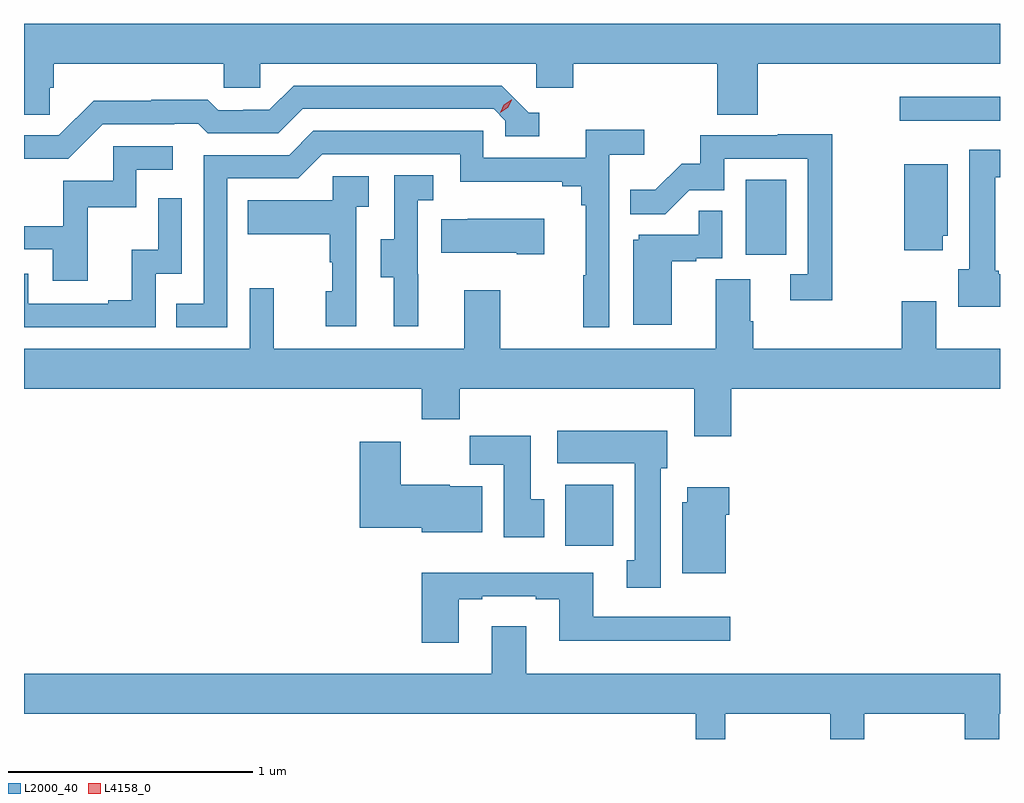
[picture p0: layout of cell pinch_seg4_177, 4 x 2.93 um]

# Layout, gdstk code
import gdstk
lib = gdstk.Library(unit=1e-6, precision=1e-09)
def R(c, l, rs):  # rectangles x0, y0, x1, y1
    for r in rs: c.add(gdstk.rectangle(r[:2], r[2:], *l))
def P(c, l, *ps):  # polygons
    for p in ps: c.add(gdstk.Polygon(p, *l))
L2000_40 = (2000, 40)
L4158_0 = (4158, 0)

pinch_seg4_177 = lib.new_cell('pinch_seg4_177')
R(pinch_seg4_177, L2000_40, [(1093.913,800.172,1094.109,800.422), (1094.654,801.366,1094.818,801.673), (1095.285,801.915,1095.695,802.012)])
P(pinch_seg4_177, L2000_40, [(1091.801,802.05),(1091.816,802.05),(1091.816,802.148),(1092.513,802.148),(1092.513,802.05),(1092.663,802.05),(1092.663,802.148),(1093.794,802.148),(1093.794,802.05),(1093.946,802.05),(1093.946,802.148),(1094.537,802.148),(1094.537,801.94),(1094.702,801.94),(1094.702,802.148),(1095.695,802.148),(1095.695,802.312),(1091.695,802.312),(1091.695,801.94),(1091.801,801.94)],
  [(1092.018,801.9),(1092.311,801.9),(1092.311,801.903),(1092.41,801.903),(1092.449,801.864),(1092.738,801.864),(1092.837,801.963),(1093.62,801.963),(1093.668,801.915),(1093.668,801.852),(1093.807,801.852),(1093.807,801.948),(1093.764,801.948),(1093.653,802.059),(1092.8,802.059),(1092.701,801.96),(1092.594,801.96),(1092.594,801.957),(1092.491,801.957),(1092.449,802),(1092.216,802),(1092.216,801.997),(1091.98,801.997),(1091.838,801.855),(1091.695,801.855),(1091.695,801.759),(1091.877,801.759)],
  [(1092.528,801.678),(1092.819,801.678),(1092.918,801.777),(1093.482,801.777),(1093.482,801.665),(1093.901,801.665),(1093.901,801.646),(1093.978,801.646),(1093.978,801.569),(1093.997,801.569),(1093.997,801.281),(1093.986,801.281),(1093.986,801.069),(1094.094,801.069),(1094.094,801.776),(1094.236,801.776),(1094.236,801.878),(1093.997,801.878),(1093.997,801.762),(1093.578,801.762),(1093.578,801.873),(1092.881,801.873),(1092.782,801.774),(1092.432,801.774),(1092.432,801.165),(1092.319,801.165),(1092.319,801.069),(1092.528,801.069)],
  [(1095.008,801.86),(1094.785,801.86),(1094.785,801.855),(1094.467,801.855),(1094.467,801.738),(1094.39,801.738),(1094.283,801.631),(1094.179,801.631),(1094.179,801.532),(1094.323,801.532),(1094.421,801.63),(1094.565,801.63),(1094.565,801.759),(1094.907,801.759),(1094.907,801.285),(1094.835,801.285),(1094.835,801.18),(1095.008,801.18)],
  [(1091.957,801.561),(1092.156,801.561),(1092.156,801.714),(1092.304,801.714),(1092.304,801.81),(1092.06,801.81),(1092.06,801.669),(1091.855,801.669),(1091.855,801.483),(1091.695,801.483),(1091.695,801.387),(1091.813,801.387),(1091.813,801.258),(1091.957,801.258)],
  [(1095.695,801.286),(1095.69,801.286),(1095.69,801.3),(1095.676,801.3),(1095.676,801.683),(1095.695,801.683),(1095.695,801.796),(1095.569,801.796),(1095.569,801.306),(1095.524,801.306),(1095.524,801.152),(1095.695,801.152)],
  [(1095.46,801.444),(1095.481,801.444),(1095.481,801.736),(1095.302,801.736),(1095.302,801.384),(1095.46,801.384)],
  [(1093.31,801.285),(1093.308,801.285),(1093.308,801.589),(1093.372,801.589),(1093.372,801.692),(1093.212,801.692),(1093.212,801.429),(1093.157,801.429),(1093.157,801.274),(1093.211,801.274),(1093.211,801.072),(1093.31,801.072)],
  [(1093.056,801.563),(1093.108,801.563),(1093.108,801.687),(1092.96,801.687),(1092.96,801.589),(1092.613,801.589),(1092.613,801.449),(1092.948,801.449),(1092.948,801.335),(1092.958,801.335),(1092.958,801.216),(1092.932,801.216),(1092.932,801.072),(1093.056,801.072)],
  [(1092.234,801.288),(1092.342,801.288),(1092.342,801.598),(1092.246,801.598),(1092.246,801.386),(1092.137,801.386),(1092.137,801.178),(1092.041,801.178),(1092.041,801.165),(1091.712,801.165),(1091.712,801.288),(1091.695,801.288),(1091.695,801.069),(1092.234,801.069)],
  [(1094.35,801.339),(1094.45,801.339),(1094.45,801.351),(1094.556,801.351),(1094.556,801.545),(1094.461,801.545),(1094.461,801.447),(1094.214,801.447),(1094.214,801.426),(1094.192,801.426),(1094.192,801.078),(1094.35,801.078)],
  [(1093.828,801.514),(1093.513,801.514),(1093.513,801.511),(1093.405,801.511),(1093.405,801.374),(1093.715,801.374),(1093.715,801.367),(1093.828,801.367)],
  [(1094.594,800.816),(1095.695,800.816),(1095.695,800.98),(1095.433,800.98),(1095.433,801.175),(1095.293,801.175),(1095.293,800.98),(1094.684,800.98),(1094.684,801.092),(1094.671,801.092),(1094.671,801.266),(1094.531,801.266),(1094.531,800.98),(1093.647,800.98),(1093.647,801.22),(1093.499,801.22),(1093.499,800.98),(1092.719,800.98),(1092.719,801.229),(1092.621,801.229),(1092.621,800.98),(1091.695,800.98),(1091.695,800.816),(1093.325,800.816),(1093.325,800.692),(1093.481,800.692),(1093.481,800.816),(1094.441,800.816),(1094.441,800.622),(1094.594,800.622)],
  [(1094.305,800.49),(1094.332,800.49),(1094.332,800.644),(1093.881,800.644),(1093.881,800.51),(1094.198,800.51),(1094.198,800.113),(1094.165,800.113),(1094.165,800.001),(1094.305,800.001)],
  [(1093.828,800.364),(1093.771,800.364),(1093.771,800.623),(1093.522,800.623),(1093.522,800.504),(1093.661,800.504),(1093.661,800.208),(1093.828,800.208)],
  [(1093.573,800.416),(1093.44,800.416),(1093.44,800.422),(1093.24,800.422),(1093.24,800.599),(1093.07,800.599),(1093.07,800.246),(1093.326,800.246),(1093.326,800.228),(1093.573,800.228)],
  [(1094.572,800.3),(1094.585,800.3),(1094.585,800.413),(1094.414,800.413),(1094.414,800.352),(1094.393,800.352),(1094.393,800.06),(1094.572,800.06)],
  [(1093.477,799.953),(1093.573,799.953),(1093.573,799.965),(1093.793,799.965),(1093.793,799.953),(1093.889,799.953),(1093.889,799.784),(1094.59,799.784),(1094.59,799.881),(1094.029,799.881),(1094.029,800.062),(1093.325,800.062),(1093.325,799.776),(1093.477,799.776)],
  [(1093.753,799.843),(1093.613,799.843),(1093.613,799.648),(1091.695,799.648),(1091.695,799.484),(1094.448,799.484),(1094.448,799.38),(1094.569,799.38),(1094.569,799.484),(1094.999,799.484),(1094.999,799.38),(1095.139,799.38),(1095.139,799.484),(1095.551,799.484),(1095.551,799.38),(1095.691,799.38),(1095.691,799.484),(1095.695,799.484),(1095.695,799.648),(1093.753,799.648)])
P(pinch_seg4_177, L4158_0, [(1093.646,801.947),(1093.646,801.947),(1093.662,801.98),(1093.692,802),(1093.693,802),(1093.693,801.999),(1093.677,801.967),(1093.646,801.947)])

lib.write_gds('pinch_seg4_177.gds')
